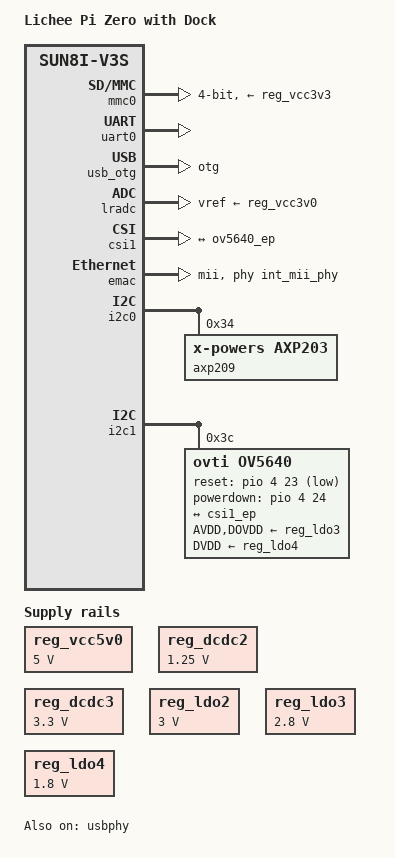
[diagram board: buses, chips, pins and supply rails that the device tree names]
/dts-v1/;
#include "sun8i-v3s.dtsi"
#include "sunxi-common-regulators.dtsi"
#include <dt-bindings/input/input.h>

/ {
	model = "Lichee Pi Zero";
	compatible = "licheepi,licheepi-zero", "allwinner,sun8i-v3s";

	aliases {
		serial0 = &uart0;
	};

	chosen {
		stdout-path = "serial0:115200n8";
	};

	leds {
		compatible = "gpio-leds";

		blue_led {
			label = "licheepi:blue:usr";
			gpios = <&pio 6 1 GPIO_ACTIVE_LOW>; /* PG1 */
		};

		green_led {
			label = "licheepi:green:usr";
			gpios = <&pio 6 0 GPIO_ACTIVE_LOW>; /* PG0 */
			default-state = "on";
		};

		red_led {
			label = "licheepi:red:usr";
			gpios = <&pio 6 2 GPIO_ACTIVE_LOW>; /* PG2 */
		};
	};

	reg_vcc5v0: vcc5v0 {
		compatible = "regulator-fixed";
		regulator-name = "vcc5v0";
		regulator-min-microvolt = <5000000>;
		regulator-max-microvolt = <5000000>;
	};
};

&mmc0 {
	broken-cd;
	bus-width = <4>;
	vmmc-supply = <&reg_vcc3v3>;
	status = "okay";
};

&uart0 {
	pinctrl-0 = <&uart0_pb_pins>;
	pinctrl-names = "default";
	status = "okay";
};

&usb_otg {
	dr_mode = "otg";
	status = "okay";
};

&usbphy {
	usb0_id_det-gpios = <&pio 5 6 GPIO_ACTIVE_HIGH>;
	status = "okay";
};

/ {
	model = "Lichee Pi Zero with Dock";
	compatible = "licheepi,licheepi-zero-dock", "licheepi,licheepi-zero",
		     "allwinner,sun8i-v3s";

	leds {
		/* The LEDs use PG0~2 pins, which conflict with MMC1 */
		status = "disabled";
	};
};

&mmc1 {
	broken-cd;
	bus-width = <4>;
	vmmc-supply = <&reg_vcc3v3>;
	status = "disabled";
};

&lradc {
	vref-supply = <&reg_vcc3v0>;
	status = "okay";

	button-200 {
		label = "Volume Up";
		linux,code = <KEY_VOLUMEUP>;
		channel = <0>;
		voltage = <200000>;
	};

	button-400 {
		label = "Volume Down";
		linux,code = <KEY_VOLUMEDOWN>;
		channel = <0>;
		voltage = <400000>;
	};

	button-600 {
		label = "Select";
		linux,code = <KEY_SELECT>;
		channel = <0>;
		voltage = <600000>;
	};

	button-800 {
		label = "Start";
		linux,code = <KEY_OK>;
		channel = <0>;
		voltage = <800000>;
	};
};

&csi1 {
	pinctrl-names = "default";
	pinctrl-0 = <&csi1_8bit_pins>;
	status = "okay";

	port {
		#address-cells = <1>;
		#size-cells = <0>;

		csi1_ep: endpoint {
			remote-endpoint = <&ov5640_ep>;
			bus-width = <8>;
			hsync-active = <1>; /* Active high */
			vsync-active = <0>; /* Active low */
			data-active = <1>;  /* Active high */
			pclk-sample = <1>;  /* Rising */
		};
	};
};

&emac {
	phy-handle = <&int_mii_phy>;
	phy-mode = "mii";
	status = "okay";
};

&i2c0 {
	status = "okay";

	axp209: pmic@34 {
		compatible = "x-powers,axp203",
			     "x-powers,axp209";
		reg = <0x34>;
		interrupt-parent = <&gic>;
		interrupts = <GIC_SPI 32 IRQ_TYPE_LEVEL_HIGH>;
		interrupt-controller;
		#interrupt-cells = <1>;
	};
};

&i2c1 {
	pinctrl-names = "default";
	pinctrl-0 = <&i2c1_pe_pins>;
	status = "okay";

	ov5640: camera@3c {
		compatible = "ovti,ov5640";
		reg = <0x3c>;
		pinctrl-names = "default";
		pinctrl-0 = <&csi1_mclk_pin>;
		clocks = <&ccu CLK_CSI1_MCLK>;
		clock-names = "xclk";

		AVDD-supply = <&reg_ldo3>;
		DOVDD-supply = <&reg_ldo3>;
		DVDD-supply = <&reg_ldo4>;
		reset-gpios = <&pio 4 23 GPIO_ACTIVE_LOW>; /* PE23 */
		powerdown-gpios = <&pio 4 24 GPIO_ACTIVE_HIGH>; /* PE24 */

		port {
			ov5640_ep: endpoint {
				remote-endpoint = <&csi1_ep>;
				bus-width = <8>;
				hsync-active = <1>; /* Active high */
				vsync-active = <0>; /* Active low */
				data-active = <1>;  /* Active high */
				pclk-sample = <1>;  /* Rising */
			};
		};
	};
};

&pio {
	vcc-pd-supply = <&reg_dcdc3>;
	vcc-pe-supply = <&reg_ldo3>;
};

#include "axp209.dtsi"

&ac_power_supply {
	status = "okay";
};

&reg_dcdc2 {
	regulator-always-on;
	regulator-min-microvolt = <1250000>;
	regulator-max-microvolt = <1250000>;
	regulator-name = "vdd-sys-cpu-ephy";
};

&reg_dcdc3 {
	regulator-always-on;
	regulator-min-microvolt = <3300000>;
	regulator-max-microvolt = <3300000>;
	regulator-name = "vcc-3v3";
};

&reg_ldo1 {
	regulator-name = "vdd-rtc";
};

&reg_ldo2 {
	regulator-always-on;
	regulator-min-microvolt = <3000000>;
	regulator-max-microvolt = <3000000>;
	regulator-name = "avcc";
};

&reg_ldo3 {
	regulator-min-microvolt = <2800000>;
	regulator-max-microvolt = <2800000>;
	regulator-name = "avdd-dovdd-2v8-csi";
	regulator-soft-start;
	regulator-ramp-delay = <1600>;
};

&reg_ldo4 {
	regulator-min-microvolt = <1800000>;
	regulator-max-microvolt = <1800000>;
	regulator-name = "dvdd-1v8-csi";
};
